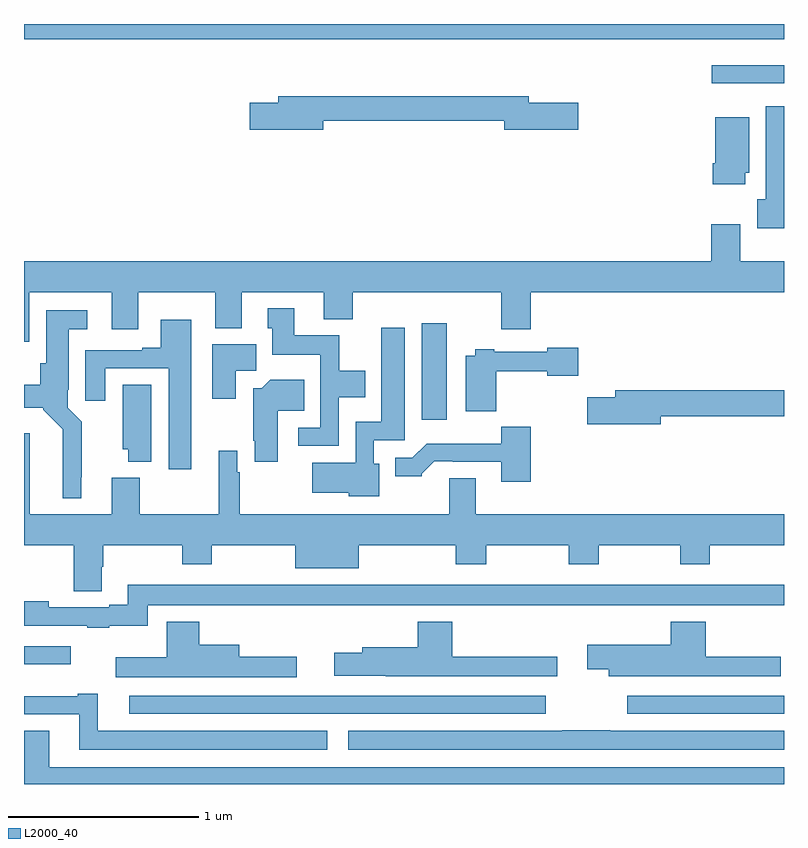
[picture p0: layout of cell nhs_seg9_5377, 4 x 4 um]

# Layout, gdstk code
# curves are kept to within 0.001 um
import gdstk
lib = gdstk.Library(unit=1e-6, precision=1e-09)
def R(c, l, rs):  # rectangles x0, y0, x1, y1
    for r in rs: c.add(gdstk.rectangle(r[:2], r[2:], *l))
def P(c, l, *ps):  # polygons
    for p in ps: c.add(gdstk.Polygon(p, *l))
L2000_40 = (2000, 40)

nhs_seg9_5377 = lib.new_cell('nhs_seg9_5377')
R(nhs_seg9_5377, L2000_40, [(423.555,1192.869,425.746,1192.965), (426.174,1192.869,427,1192.965), (423,1193.129,423.247,1193.226), (425.093,1194.417,425.224,1194.925), (426.621,1196.187,427,1196.284), (423,1196.42,427,1196.5)])
P(nhs_seg9_5377, L2000_40, [(424.576,1195.99),(425.528,1195.99),(425.528,1195.943),(425.917,1195.943),(425.917,1196.085),(425.656,1196.085),(425.656,1196.119),(424.337,1196.119),(424.337,1196.085),(424.188,1196.085),(424.188,1195.943),(424.576,1195.943)],
  [(427,1196.068),(426.905,1196.068),(426.905,1195.578),(426.86,1195.578),(426.86,1195.424),(427,1195.424)],
  [(426.796,1195.716),(426.817,1195.716),(426.817,1196.008),(426.638,1196.008),(426.638,1195.768),(426.626,1195.768),(426.626,1195.656),(426.796,1195.656)],
  [(423.027,1195.088),(423.461,1195.088),(423.461,1194.894),(423.601,1194.894),(423.601,1195.088),(424.007,1195.088),(424.007,1194.899),(424.147,1194.899),(424.147,1195.088),(424.577,1195.088),(424.577,1194.947),(424.73,1194.947),(424.73,1195.088),(425.513,1195.088),(425.513,1194.894),(425.666,1194.894),(425.666,1195.088),(427,1195.088),(427,1195.252),(426.769,1195.252),(426.769,1195.447),(426.617,1195.447),(426.617,1195.252),(423,1195.252),(423,1194.828),(423.027,1194.828)],
  [(424.656,1194.536),(424.795,1194.536),(424.795,1194.676),(424.659,1194.676),(424.659,1194.862),(424.423,1194.862),(424.423,1195.003),(424.283,1195.003),(424.283,1194.9),(424.307,1194.9),(424.307,1194.758),(424.56,1194.758),(424.56,1194.375),(424.443,1194.375),(424.443,1194.279),(424.656,1194.279)],
  [(423.301,1194.115),(423.305,1194.115),(423.305,1194.406),(423.231,1194.48),(423.231,1194.574),(423.235,1194.574),(423.235,1194.893),(423.334,1194.893),(423.334,1194.994),(423.116,1194.994),(423.116,1194.714),(423.086,1194.714),(423.086,1194.601),(423,1194.601),(423,1194.479),(423.102,1194.479),(423.102,1194.47),(423.204,1194.368),(423.203,1194.005),(423.301,1194.005)],
  [(423.88,1194.943),(423.719,1194.943),(423.719,1194.796),(423.623,1194.796),(423.623,1194.783),(423.323,1194.783),(423.323,1194.516),(423.427,1194.516),(423.427,1194.687),(423.761,1194.687),(423.761,1194.156),(423.88,1194.156)],
  [(424.87,1194.186),(424.842,1194.186),(424.842,1194.309),(425.005,1194.309),(425.005,1194.901),(424.88,1194.901),(424.88,1194.406),(424.746,1194.406),(424.746,1194.19),(424.518,1194.19),(424.518,1194.032),(424.71,1194.032),(424.71,1194.014),(424.87,1194.014)],
  [(424.114,1194.675),(424.222,1194.675),(424.222,1194.814),(423.992,1194.814),(423.992,1194.528),(424.114,1194.528)],
  [(425.486,1194.673),(425.754,1194.673),(425.754,1194.65),(425.917,1194.65),(425.917,1194.795),(425.754,1194.795),(425.754,1194.774),(425.476,1194.774),(425.476,1194.787),(425.376,1194.787),(425.376,1194.754),(425.324,1194.754),(425.324,1194.461),(425.486,1194.461)],
  [(424.336,1194.464),(424.475,1194.464),(424.475,1194.628),(424.297,1194.628),(424.252,1194.583),(424.207,1194.583),(424.207,1194.307),(424.214,1194.307),(424.214,1194.195),(424.336,1194.195)],
  [(423.67,1194.602),(423.521,1194.602),(423.521,1194.261),(423.548,1194.261),(423.548,1194.197),(423.67,1194.197)],
  [(426.352,1194.436),(427,1194.436),(427,1194.572),(426.113,1194.572),(426.113,1194.536),(425.964,1194.536),(425.964,1194.394),(426.352,1194.394)],
  [(425.666,1194.379),(425.511,1194.379),(425.511,1194.292),(425.119,1194.292),(425.043,1194.216),(424.955,1194.216),(424.955,1194.119),(425.094,1194.119),(425.094,1194.134),(425.158,1194.198),(425.257,1194.198),(425.257,1194.195),(425.513,1194.195),(425.513,1194.09),(425.666,1194.09)],
  [(423.409,1193.644),(423.417,1193.644),(423.417,1193.756),(423.832,1193.756),(423.832,1193.657),(423.987,1193.657),(423.987,1193.756),(424.427,1193.756),(424.427,1193.636),(424.762,1193.636),(424.762,1193.756),(425.273,1193.756),(425.273,1193.657),(425.433,1193.657),(425.433,1193.756),(425.866,1193.756),(425.866,1193.657),(426.024,1193.657),(426.024,1193.756),(426.454,1193.756),(426.454,1193.657),(426.609,1193.657),(426.609,1193.756),(427,1193.756),(427,1193.92),(425.377,1193.92),(425.377,1194.11),(425.237,1194.11),(425.237,1193.92),(424.135,1193.92),(424.135,1194.14),(424.122,1194.14),(424.122,1194.253),(424.025,1194.253),(424.025,1193.92),(423.609,1193.92),(423.609,1194.112),(423.461,1194.112),(423.461,1193.92),(423.031,1193.92),(423.031,1194.346),(423,1194.346),(423,1193.756),(423.262,1193.756),(423.262,1193.515),(423.409,1193.515)],
  [(423.448,1193.333),(423.652,1193.333),(423.652,1193.441),(427,1193.441),(427,1193.548),(423.545,1193.548),(423.545,1193.443),(423.449,1193.443),(423.449,1193.43),(423.129,1193.43),(423.129,1193.463),(423,1193.463),(423,1193.334),(423.334,1193.334),(423.334,1193.322),(423.448,1193.322)],
  [(425.806,1193.17),(425.255,1193.17),(425.255,1193.353),(425.072,1193.353),(425.072,1193.221),(424.781,1193.221),(424.781,1193.191),(424.632,1193.191),(424.632,1193.069),(424.905,1193.069),(424.905,1193.066),(425.806,1193.066)],
  [(424.435,1193.17),(424.132,1193.17),(424.132,1193.233),(423.923,1193.233),(423.923,1193.353),(423.752,1193.353),(423.752,1193.167),(423.483,1193.167),(423.483,1193.063),(424.435,1193.063)],
  [(426.982,1193.17),(426.587,1193.17),(426.587,1193.353),(426.404,1193.353),(426.404,1193.233),(425.964,1193.233),(425.964,1193.104),(426.077,1193.104),(426.077,1193.066),(426.982,1193.066)],
  [(424.597,1192.78),(423.388,1192.78),(423.388,1192.975),(423.284,1192.975),(423.284,1192.963),(423,1192.963),(423,1192.866),(423.29,1192.866),(423.29,1192.679),(424.597,1192.679)],
  [(427,1192.78),(426.086,1192.78),(426.086,1192.783),(425.833,1192.783),(425.833,1192.78),(424.707,1192.78),(424.707,1192.679),(427,1192.679)],
  [(427,1192.588),(423.133,1192.588),(423.133,1192.781),(423,1192.781),(423,1192.5),(427,1192.5)])

lib.write_gds('nhs_seg9_5377.gds')
